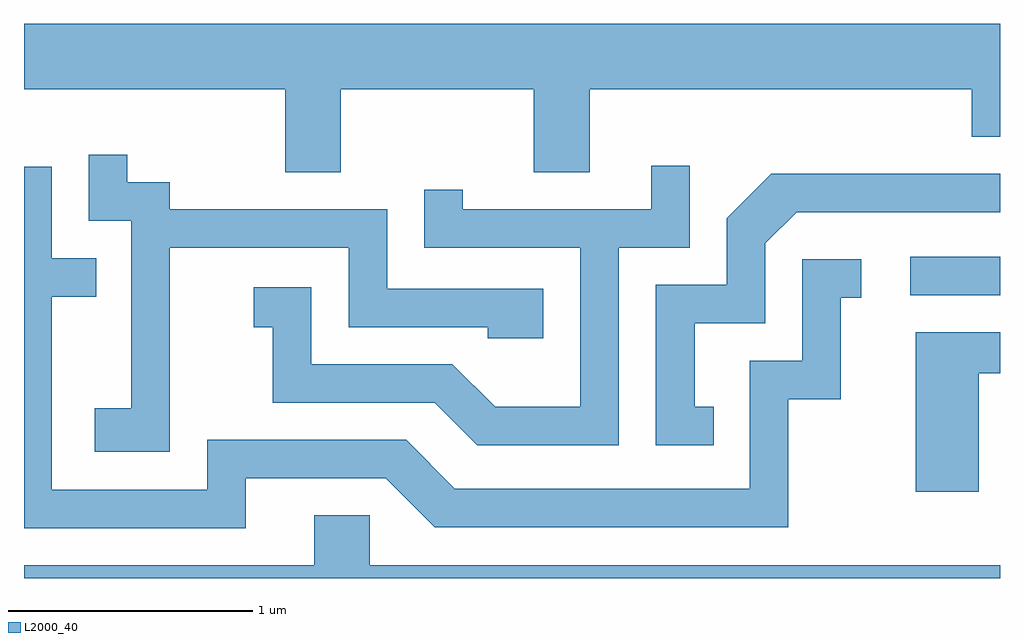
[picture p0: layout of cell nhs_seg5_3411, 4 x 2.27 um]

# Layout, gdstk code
import gdstk
lib = gdstk.Library(unit=1e-6, precision=1e-09)
def R(c, l, rs):  # rectangles x0, y0, x1, y1
    for r in rs: c.add(gdstk.rectangle(r[:2], r[2:], *l))
def P(c, l, *ps):  # polygons
    for p in ps: c.add(gdstk.Polygon(p, *l))
L2000_40 = (2000, 40)

nhs_seg5_3411 = lib.new_cell('nhs_seg5_3411')
R(nhs_seg5_3411, L2000_40, [(289.243,1509.231,289.611,1509.389)])
P(nhs_seg5_3411, L2000_40, [(286.909,1510.076),(287.701,1510.076),(287.701,1509.736),(287.929,1509.736),(287.929,1510.076),(289.496,1510.076),(289.496,1509.881),(289.611,1509.881),(289.611,1510.344),(285.611,1510.344),(285.611,1510.076),(286.681,1510.076),(286.681,1509.736),(286.909,1509.736)],
  [(286.209,1509.426),(286.941,1509.426),(286.941,1509.101),(287.511,1509.101),(287.511,1509.056),(287.739,1509.056),(287.739,1509.259),(287.099,1509.259),(287.099,1509.584),(286.209,1509.584),(286.209,1509.694),(286.034,1509.694),(286.034,1509.808),(285.876,1509.808),(285.876,1509.536),(286.051,1509.536),(286.051,1508.769),(285.901,1508.769),(285.901,1508.591),(286.209,1508.591)],
  [(288.049,1509.426),(288.339,1509.426),(288.339,1509.763),(288.181,1509.763),(288.181,1509.584),(287.409,1509.584),(287.409,1509.663),(287.251,1509.663),(287.251,1509.426),(287.891,1509.426),(287.891,1508.774),(287.542,1508.774),(287.367,1508.949),(286.789,1508.949),(286.789,1509.264),(286.553,1509.264),(286.553,1509.101),(286.631,1509.101),(286.631,1508.791),(287.294,1508.791),(287.469,1508.616),(288.049,1508.616)],
  [(286.519,1508.481),(287.094,1508.481),(287.294,1508.281),(288.744,1508.281),(288.744,1508.806),(288.959,1508.806),(288.959,1509.221),(289.043,1509.221),(289.043,1509.379),(288.801,1509.379),(288.801,1508.964),(288.586,1508.964),(288.586,1508.439),(287.377,1508.439),(287.177,1508.639),(286.361,1508.639),(286.361,1508.434),(285.724,1508.434),(285.724,1509.226),(285.908,1509.226),(285.908,1509.384),(285.724,1509.384),(285.724,1509.759),(285.611,1509.759),(285.611,1508.276),(286.519,1508.276)],
  [(288.438,1508.774),(288.359,1508.774),(288.359,1509.116),(288.649,1509.116),(288.649,1509.444),(288.777,1509.571),(289.611,1509.571),(289.611,1509.729),(288.674,1509.729),(288.491,1509.547),(288.491,1509.274),(288.201,1509.274),(288.201,1508.616),(288.438,1508.616)],
  [(289.524,1508.911),(289.611,1508.911),(289.611,1509.079),(289.266,1509.079),(289.266,1508.426),(289.524,1508.426)],
  [(289.611,1508.124),(287.029,1508.124),(287.029,1508.329),(286.801,1508.329),(286.801,1508.124),(285.611,1508.124),(285.611,1508.072),(289.611,1508.072)])

lib.write_gds('nhs_seg5_3411.gds')
